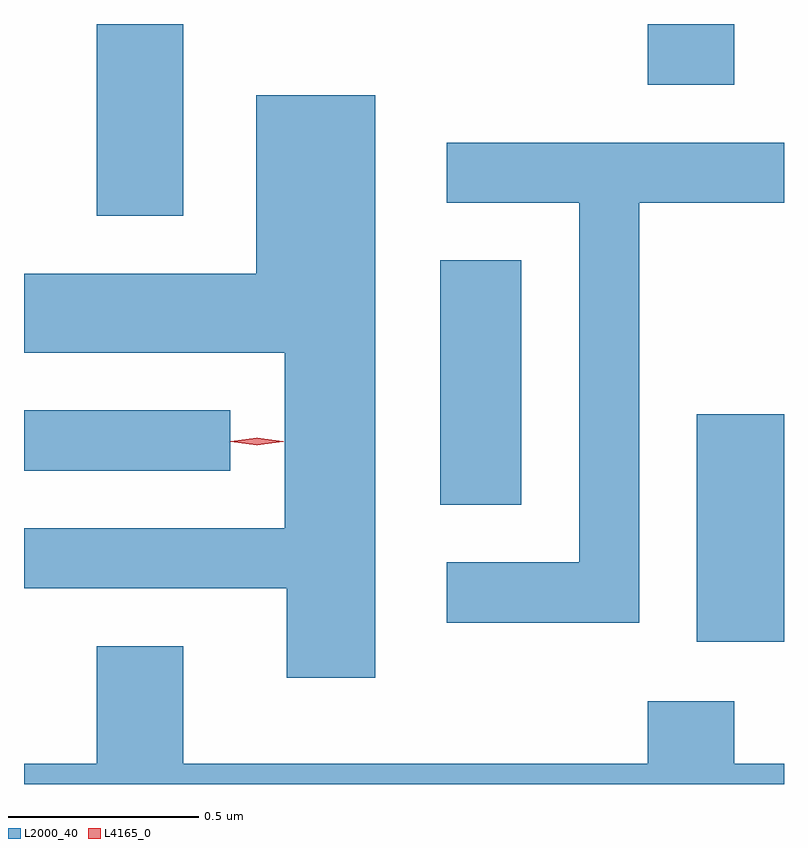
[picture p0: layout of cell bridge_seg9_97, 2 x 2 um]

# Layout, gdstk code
import gdstk
lib = gdstk.Library(unit=1e-6, precision=1e-09)
def R(c, l, rs):  # rectangles x0, y0, x1, y1
    for r in rs: c.add(gdstk.rectangle(r[:2], r[2:], *l))
def P(c, l, *ps):  # polygons
    for p in ps: c.add(gdstk.Polygon(p, *l))
L2000_40 = (2000, 40)
L4165_0 = (4165, 0)

bridge_seg9_97 = lib.new_cell('bridge_seg9_97')
R(bridge_seg9_97, L2000_40, [(1798.831,1979.086,1799.06,1979.684), (1798.156,1979.446,1798.369,1980.089), (1797.06,1979.536,1797.603,1979.694), (1797.251,1980.206,1797.479,1980.711), (1798.701,1980.551,1798.929,1980.711)])
P(bridge_seg9_97, L2000_40, [(1797.984,1980.524),(1797.671,1980.524),(1797.671,1980.054),(1797.06,1980.054),(1797.06,1979.846),(1797.746,1979.846),(1797.746,1979.384),(1797.06,1979.384),(1797.06,1979.226),(1797.751,1979.226),(1797.751,1978.991),(1797.984,1978.991)],
  [(1798.679,1980.241),(1799.06,1980.241),(1799.06,1980.399),(1798.173,1980.399),(1798.173,1980.241),(1798.521,1980.241),(1798.521,1979.294),(1798.173,1979.294),(1798.173,1979.136),(1798.679,1979.136)],
  [(1799.06,1978.764),(1798.929,1978.764),(1798.929,1978.929),(1798.701,1978.929),(1798.701,1978.764),(1797.479,1978.764),(1797.479,1979.074),(1797.251,1979.074),(1797.251,1978.764),(1797.06,1978.764),(1797.06,1978.711),(1799.06,1978.711)])
P(bridge_seg9_97, L4165_0, [(1797.673,1979.602),(1797.604,1979.612),(1797.603,1979.612),(1797.604,1979.613),(1797.673,1979.622),(1797.742,1979.613),(1797.743,1979.612),(1797.742,1979.612)],
  [(1797.674,1979.602),(1797.607,1979.612),(1797.607,1979.612),(1797.607,1979.613),(1797.674,1979.622),(1797.74,1979.613),(1797.74,1979.612),(1797.74,1979.612)])

lib.write_gds('bridge_seg9_97.gds')
